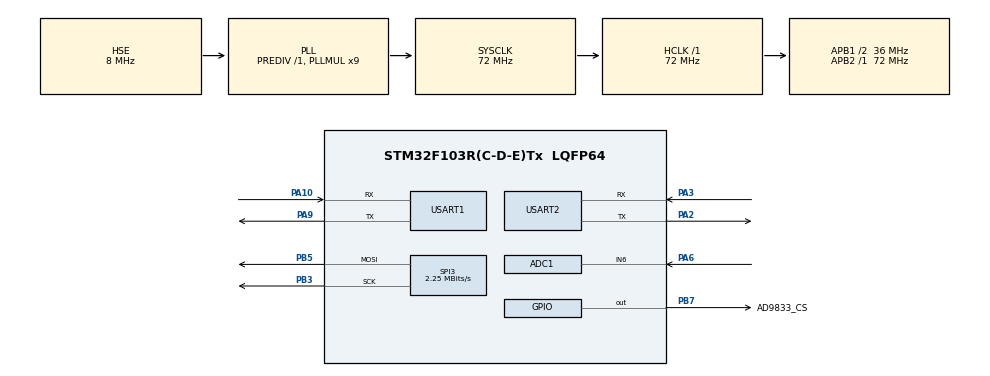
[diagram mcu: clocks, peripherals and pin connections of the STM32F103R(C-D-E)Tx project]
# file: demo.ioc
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ADC1.Channel-0\#ChannelRegularConversion=ADC_CHANNEL_6
ADC1.NbrOfConversion=1
ADC1.NbrOfConversionFlag=1
ADC1.Rank-0\#ChannelRegularConversion=1
ADC1.SamplingTime-0\#ChannelRegularConversion=ADC_SAMPLETIME_55CYCLES_5
ADC1.master=1
Mcu.Family=STM32F1
Mcu.Name=STM32F103R(C-D-E)Tx
Mcu.Package=LQFP64
NVIC.ADC1_2_IRQn=true\:0\:0\:false\:false\:true\:true\:true\:true
NVIC.PriorityGroup=NVIC_PRIORITYGROUP_4
NVIC.TIM7_IRQn=true\:1\:0\:true\:false\:true\:true\:true\:true
PA10.Mode=Asynchronous
PA10.Signal=USART1_RX
PA13.Mode=Serial_Wire
PA13.Signal=SYS_JTMS-SWDIO
PA14.Mode=Serial_Wire
PA14.Signal=SYS_JTCK-SWCLK
PA2.Mode=Asynchronous
PA2.Signal=USART2_TX
PA3.Mode=Asynchronous
PA3.Signal=USART2_RX
PA6.Signal=ADCx_IN6
PA9.Mode=Asynchronous
PA9.Signal=USART1_TX
PB3.Mode=TX_Only_Simplex_Unidirect_Master
PB3.Signal=SPI3_SCK
PB5.Mode=TX_Only_Simplex_Unidirect_Master
PB5.Signal=SPI3_MOSI
PB7.GPIO_Label=AD9833_CS
PB7.GPIO_PuPd=GPIO_PULLUP
PB7.GPIO_Speed=GPIO_SPEED_FREQ_HIGH
PB7.PinState=GPIO_PIN_SET
PB7.Signal=GPIO_Output
PD0-OSC_IN.Mode=HSE-External-Oscillator
PD0-OSC_IN.Signal=RCC_OSC_IN
PD1-OSC_OUT.Mode=HSE-External-Oscillator
PD1-OSC_OUT.Signal=RCC_OSC_OUT
ProjectManager.HeapSize=0x200
ProjectManager.StackSize=0x400
ProjectManager.TargetToolchain=MDK-ARM V5
RCC.ADCPresc=RCC_ADCPCLK2_DIV6
RCC.AHBFreq_Value=72000000
RCC.APB1CLKDivider=RCC_HCLK_DIV2
RCC.APB1Freq_Value=36000000
RCC.APB1TimFreq_Value=72000000
RCC.APB2Freq_Value=72000000
RCC.APB2TimFreq_Value=72000000
RCC.HCLKFreq_Value=72000000
RCC.PLLMUL=RCC_PLL_MUL9
RCC.PLLSourceVirtual=RCC_PLLSOURCE_HSE
RCC.SYSCLKFreq_VALUE=72000000
RCC.SYSCLKSource=RCC_SYSCLKSOURCE_PLLCLK
RCC.USBFreq_Value=72000000
SH.ADCx_IN6.0=ADC1_IN6,IN6
SPI3.BaudRatePrescaler=SPI_BAUDRATEPRESCALER_16
SPI3.CLKPolarity=SPI_POLARITY_HIGH
SPI3.CalculateBaudRate=2.25 MBits/s
SPI3.DataSize=SPI_DATASIZE_16BIT
SPI3.Direction=SPI_DIRECTION_2LINES
SPI3.Mode=SPI_MODE_MASTER
SPI3.VirtualType=VM_MASTER
TIM7.AutoReloadPreload=TIM_AUTORELOAD_PRELOAD_ENABLE
TIM7.Period=100-1
TIM7.Prescaler=72-1
USART1.VirtualMode=VM_ASYNC
USART2.VirtualMode=VM_ASYNC
VP_TIM7_VS_ClockSourceINT.Mode=Enable_Timer
board=custom

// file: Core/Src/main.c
/* USER CODE BEGIN Header */
/**
 ******************************************************************************
 * @file           : main.c
 * @brief          : Main program body
 ******************************************************************************
 * @attention
 *
 * <h2><center>&copy; Copyright (c) 2022 STMicroelectronics.
 * All rights reserved.</center></h2>
 *
 * This software component is licensed by ST under BSD 3-Clause license,
 * the "License"; You may not use this file except in compliance with the
 * License. You may obtain a copy of the License at:
 *                        opensource.org/licenses/BSD-3-Clause
 *
 ******************************************************************************
 */
/* USER CODE END Header */

#include "main.h"
#include "adc.h"
#include "gpio.h"
#include "spi.h"
#include "tim.h"
#include "usart.h"

/* USER CODE BEGIN Includes */
#include "AD9833/ad9833.h"
/* USER CODE END Includes */

void SystemClock_Config(void);

/* USER CODE BEGIN 0 */

void HAL_TIM_PeriodElapsedCallback(TIM_HandleTypeDef* htim)
{  // TIM
    if (htim->Instance == TIM7) HAL_ADC_Start_IT(&hadc1);
}
void HAL_ADC_ConvCpltCallback(ADC_HandleTypeDef* hadc)
{  // ADC
    HAL_ADC_Stop_IT(&hadc1);
    HAL_TIM_Base_Stop_IT(&htim7);
    printf("%.2f\r\n", HAL_ADC_GetValue(&hadc1) * 3.3f / 4096);
    HAL_TIM_Base_Start_IT(&htim7);
}

/* USER CODE END 0 */

int main(void)
{

    /* MCU Configuration--------------------------------------------------------*/

    /* Reset of all peripherals, Initializes the Flash interface and the Systick. */
    HAL_Init();

    /* Configure the system clock */
    SystemClock_Config();

    /* Initialize all configured peripherals */
    MX_GPIO_Init();
    MX_USART1_UART_Init();
    MX_ADC1_Init();
    MX_SPI3_Init();
    MX_TIM7_Init();
    MX_USART2_UART_Init();

    /* Infinite loop */
    /* USER CODE BEGIN WHILE */

    HAL_ADCEx_Calibration_Start(&hadc1);  // 校准 PA6

    ad9833_init();
    ad9833_set_frequency(AD9833_FREQ0_SELECT, 10);
    ad9833_set_phase(AD9833_PHASE0_SELECT, 0);
    ad9833_set_output(AD9833_FREQ0_OUTPUT, AD9833_PHASE0_OUTPUT);

    HAL_TIM_Base_Start_IT(&htim7);

    while (1) {
        ad9833_set_waveform(AD9833_WAVEFORM_SINE);
        HAL_Delay(500);
        ad9833_set_waveform(AD9833_WAVEFORM_HALF_SQUARE);
        HAL_Delay(500);
        ad9833_set_waveform(AD9833_WAVEFORM_TRIANGLE);
        HAL_Delay(500);
        ad9833_set_waveform(AD9833_WAVEFORM_SQUARE);
        HAL_Delay(500);
        /* USER CODE END WHILE */

    }
}

void SystemClock_Config(void)
{
    RCC_OscInitTypeDef       RCC_OscInitStruct = {0};
    RCC_ClkInitTypeDef       RCC_ClkInitStruct = {0};
    RCC_PeriphCLKInitTypeDef PeriphClkInit     = {0};

    /** Initializes the CPU, AHB and APB busses clocks
     */
    RCC_OscInitStruct.OscillatorType = RCC_OSCILLATORTYPE_HSE;
    RCC_OscInitStruct.HSEState       = RCC_HSE_ON;
    RCC_OscInitStruct.HSEPredivValue = RCC_HSE_PREDIV_DIV1;
    RCC_OscInitStruct.HSIState       = RCC_HSI_ON;
    RCC_OscInitStruct.PLL.PLLState   = RCC_PLL_ON;
    RCC_OscInitStruct.PLL.PLLSource  = RCC_PLLSOURCE_HSE;
    RCC_OscInitStruct.PLL.PLLMUL     = RCC_PLL_MUL9;
    if (HAL_RCC_OscConfig(&RCC_OscInitStruct) != HAL_OK) {
        Error_Handler();
    }
    /** Initializes the CPU, AHB and APB busses clocks
     */
    RCC_ClkInitStruct.ClockType      = RCC_CLOCKTYPE_HCLK | RCC_CLOCKTYPE_SYSCLK | RCC_CLOCKTYPE_PCLK1 | RCC_CLOCKTYPE_PCLK2;
    RCC_ClkInitStruct.SYSCLKSource   = RCC_SYSCLKSOURCE_PLLCLK;
    RCC_ClkInitStruct.AHBCLKDivider  = RCC_SYSCLK_DIV1;
    RCC_ClkInitStruct.APB1CLKDivider = RCC_HCLK_DIV2;
    RCC_ClkInitStruct.APB2CLKDivider = RCC_HCLK_DIV1;

    if (HAL_RCC_ClockConfig(&RCC_ClkInitStruct, FLASH_LATENCY_2) != HAL_OK) {
        Error_Handler();
    }
    PeriphClkInit.PeriphClockSelection = RCC_PERIPHCLK_ADC;
    PeriphClkInit.AdcClockSelection    = RCC_ADCPCLK2_DIV6;
    if (HAL_RCCEx_PeriphCLKConfig(&PeriphClkInit) != HAL_OK) {
        Error_Handler();
    }
}

void Error_Handler(void)
{
}

/************************ (C) COPYRIGHT STMicroelectronics *****END OF FILE****/
